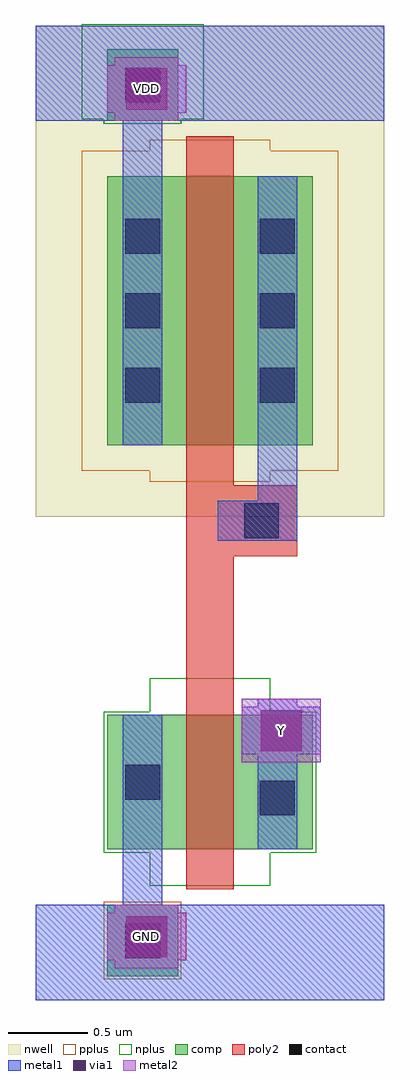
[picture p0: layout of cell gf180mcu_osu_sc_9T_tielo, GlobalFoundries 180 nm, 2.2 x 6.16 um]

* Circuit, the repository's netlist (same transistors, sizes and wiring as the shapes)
.option scale=0.05u

.subckt gf180mcu_osu_sc_9T_tielo Y
X0 Y a_19_14 GND GND nmos_3p3 w=17 l=6
X1 a_19_14 a_19_14 VDD VDD pmos_3p3 w=34 l=6
.ends

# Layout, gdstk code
import gdstk
lib = gdstk.Library(unit=1e-6, precision=1e-09)
def R(c, l, rs):  # rectangles x0, y0, x1, y1
    for r in rs: c.add(gdstk.rectangle(r[:2], r[2:], *l))
def A(c, l, x, y, w, h, nx, ny, dx, dy):  # array of equal rectangles
    R(c, l, [(x+i*dx, y+j*dy, x+i*dx+w, y+j*dy+h) for i in range(nx) for j in range(ny)])
nwell = (21, 0)
comp = (22, 0)
poly2 = (30, 0)
pplus = (31, 0)
nplus = (32, 0)
contact = (33, 0)
metal1 = (34, 0)
via1 = (35, 0)
metal2 = (36, 0)

gf180mcu_osu_sc_9t_tielo = lib.new_cell('gf180mcu_osu_sc_9T_tielo')
R(gf180mcu_osu_sc_9t_tielo, nwell, [(0,3.05,2.2,6.15)])
R(gf180mcu_osu_sc_9t_tielo, comp, [(0.45,0.15,0.9,0.6), (0.45,0.95,1.75,1.8), (0.45,3.5,1.75,5.2), (0.45,5.55,0.9,6)])
R(gf180mcu_osu_sc_9t_tielo, poly2, [(0.95,0.7,1.25,2.8), (0.95,2.8,1.65,3.25), (0.95,3.25,1.25,5.45)])
R(gf180mcu_osu_sc_9t_tielo, pplus, [(0.43,0.13,0.92,0.62), (0.72,3.27,1.48,3.34), (0.29,3.34,1.91,5.36), (0.72,5.36,1.48,5.43)])
R(gf180mcu_osu_sc_9t_tielo, nplus, [(0.72,0.72,1.48,0.93), (0.43,0.93,1.77,1.82), (0.72,1.82,1.48,2.03), (0.43,5.53,0.92,5.56), (0.29,5.56,1.06,6.16)])
A(gf180mcu_osu_sc_9t_tielo, contact, 0.565, 3.77, 0.22, 0.22, 1, 3, 0, 0.47)
A(gf180mcu_osu_sc_9t_tielo, contact, 1.415, 3.77, 0.22, 0.22, 1, 3, 0, 0.47)
R(gf180mcu_osu_sc_9t_tielo, contact, [(0.565,0.265,0.785,0.485), (1.415,1.165,1.635,1.385), (0.565,1.265,0.785,1.485), (1.315,2.915,1.535,3.135), (0.565,5.665,0.785,5.885)])
R(gf180mcu_osu_sc_9t_tielo, metal1, [(0,0,2.2,0.6), (0.55,0.6,0.8,1.8), (1.4,0.95,1.65,1.55), (1.3,1.55,1.8,1.85), (1.4,1.85,1.65,1.9), (1.15,2.9,1.65,3.15), (1.4,3.15,1.65,5.2), (0.55,3.5,0.8,5.55), (0,5.55,2.2,6.15)])
R(gf180mcu_osu_sc_9t_tielo, via1, [(0.57,0.27,0.83,0.53), (1.42,1.57,1.68,1.83), (0.57,5.62,0.83,5.88)])
R(gf180mcu_osu_sc_9t_tielo, metal2, [(0.5,0.2,0.9,0.25), (0.45,0.25,0.95,0.55), (0.5,0.55,0.9,0.6), (1.3,1.5,1.8,1.9), (0.5,5.55,0.9,5.6), (0.45,5.6,0.95,5.9), (0.5,5.9,0.9,5.95)])
gf180mcu_osu_sc_9t_tielo.add(gdstk.Label('VDD', (0.7,5.75), layer=36, texttype=0))
gf180mcu_osu_sc_9t_tielo.add(gdstk.Label('GND', (0.7,0.4), layer=36, texttype=0))
gf180mcu_osu_sc_9t_tielo.add(gdstk.Label('Y', (1.55,1.7), layer=36, texttype=10))

lib.write_gds('gf180mcu_osu_sc_9T_tielo.gds')
